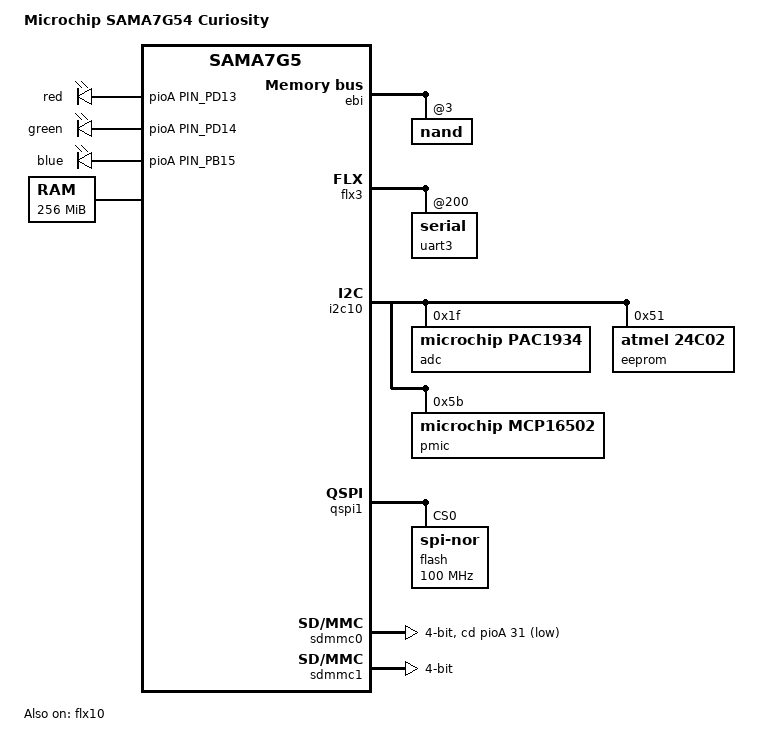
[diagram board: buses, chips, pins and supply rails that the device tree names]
// SPDX-License-Identifier: (GPL-2.0+ OR MIT)
/*
 * at91-sama7g54_curiosity.dts - Device Tree file for SAMA7G54 CURIOSITY board
 *
 * Copyright (C) 2024 Microchip Technology Inc. and its subsidiaries
 *
 * Author: Mihai Sain <mihai.sain@microchip.com>
 *
 */
/dts-v1/;
#include "sama7g5-pinfunc.h"
#include "sama7g5.dtsi"
#include <dt-bindings/input/input.h>
#include <dt-bindings/mfd/atmel-flexcom.h>
#include <dt-bindings/pinctrl/at91.h>

/ {
	model = "Microchip SAMA7G54 Curiosity";
	compatible = "microchip,sama7g54-curiosity", "microchip,sama7g5", "microchip,sama7";

	aliases {
		serial0 = &uart3;
		i2c0 = &i2c10;
	};

	chosen {
		bootargs = "console=ttyS0,115200 root=/dev/mmcblk1p2 rw rootwait";
		stdout-path = "serial0:115200n8";
	};

	clocks {
		slow_xtal {
			clock-frequency = <32768>;
		};

		main_xtal {
			clock-frequency = <24000000>;
		};
	};

	leds {
		compatible = "gpio-leds";
		pinctrl-names = "default";
		pinctrl-0 = <&pinctrl_led_gpio_default>;

		led-red {
			label = "red";
			gpios = <&pioA PIN_PD13 GPIO_ACTIVE_HIGH>;
			default-state = "off";
		};

		led-green {
			label = "green";
			gpios = <&pioA PIN_PD14 GPIO_ACTIVE_HIGH>;
			default-state = "off";
		};

		led-blue {
			label = "blue";
			gpios = <&pioA PIN_PB15 GPIO_ACTIVE_HIGH>;
			default-state = "on";
		};
	};

	memory {
		device_type = "memory";
		reg = <0x60000000 0x10000000>; // 256 MiB DDR3L-1066 16-bit
	};
};

&ebi {
	pinctrl-names = "default";
	pinctrl-0 = <&pinctrl_nand_default>;
	status = "okay";

	nand_controller: nand-controller {
		status = "okay";

		nand@3 {
			reg = <0x3 0x0 0x800000>;
			atmel,rb = <0>;
			nand-bus-width = <8>;
			nand-ecc-mode = "hw";
			nand-ecc-strength = <8>;
			nand-ecc-step-size = <512>;
			nand-on-flash-bbt;
		};
	};
};

&flx3 {
	atmel,flexcom-mode = <ATMEL_FLEXCOM_MODE_USART>;
	status = "okay";

	uart3: serial@200 {
		pinctrl-names = "default";
		pinctrl-0 = <&pinctrl_flx3_default>;
		status = "okay";
	};
};

&flx10 {
	atmel,flexcom-mode = <ATMEL_FLEXCOM_MODE_TWI>;
	status = "okay";

	i2c10: i2c@600 {
		pinctrl-names = "default";
		pinctrl-0 = <&pinctrl_flx10_default>;
		i2c-analog-filter;
		i2c-digital-filter;
		i2c-digital-filter-width-ns = <35>;
		status = "okay";

		adc@1f {
			compatible = "microchip,pac1934";
			reg = <0x1f>;
		};

		eeprom@51 {
			compatible = "atmel,24c02";
			reg = <0x51>;
			pagesize = <16>;
			size = <256>;
		};

		pmic@5b {
			compatible = "microchip,mcp16502";
			reg = <0x5b>;
		};
	};
};

&pioA {
	pinctrl_flx3_default: flx3-default {
		pinmux = <PIN_PD16__FLEXCOM3_IO0>,
			 <PIN_PD17__FLEXCOM3_IO1>;
		bias-pull-up;
	};

	pinctrl_flx10_default: flx10-default {
		pinmux = <PIN_PC30__FLEXCOM10_IO0>,
			 <PIN_PC31__FLEXCOM10_IO1>;
		bias-pull-up;
	};

	pinctrl_led_gpio_default: led-gpio-default {
		pinmux = <PIN_PD13__GPIO>,
			 <PIN_PD14__GPIO>,
			 <PIN_PB15__GPIO>;
		bias-pull-up;
	};

	pinctrl_nand_default: nand-default {
		pinmux = <PIN_PD9__D0>,
			 <PIN_PD10__D1>,
			 <PIN_PD11__D2>,
			 <PIN_PC21__D3>,
			 <PIN_PC22__D4>,
			 <PIN_PC23__D5>,
			 <PIN_PC24__D6>,
			 <PIN_PD2__D7>,
			 <PIN_PD3__NANDRDY>,
			 <PIN_PD4__NCS3_NANDCS>,
			 <PIN_PD5__NWE_NWR0_NANDWE>,
			 <PIN_PD6__NRD_NANDOE>,
			 <PIN_PD7__A21_NANDALE>,
			 <PIN_PD8__A22_NANDCLE>;
		bias-disable;
		slew-rate = <0>;
	};

	pinctrl_qspi1_default: qspi1-default {
		pinmux = <PIN_PB22__QSPI1_IO3>,
			 <PIN_PB23__QSPI1_IO2>,
			 <PIN_PB24__QSPI1_IO1>,
			 <PIN_PB25__QSPI1_IO0>,
			 <PIN_PB26__QSPI1_CS>,
			 <PIN_PB27__QSPI1_SCK>;
		bias-pull-up;
		slew-rate = <0>;
	};

	pinctrl_sdmmc0_default: sdmmc0-default {
		pinmux = <PIN_PA0__SDMMC0_CK>,
			 <PIN_PA1__SDMMC0_CMD>,
			 <PIN_PA2__SDMMC0_RSTN>,
			 <PIN_PA3__SDMMC0_DAT0>,
			 <PIN_PA4__SDMMC0_DAT1>,
			 <PIN_PA5__SDMMC0_DAT2>,
			 <PIN_PA6__SDMMC0_DAT3>;
		bias-pull-up;
		slew-rate = <0>;
	};

	pinctrl_sdmmc1_default: sdmmc1-default {
		pinmux = <PIN_PB29__SDMMC1_CMD>,
			 <PIN_PB30__SDMMC1_CK>,
			 <PIN_PB31__SDMMC1_DAT0>,
			 <PIN_PC0__SDMMC1_DAT1>,
			 <PIN_PC1__SDMMC1_DAT2>,
			 <PIN_PC2__SDMMC1_DAT3>,
			 <PIN_PC4__SDMMC1_CD>;
		bias-pull-up;
		slew-rate = <0>;
	};
};

&qspi1 {
	pinctrl-names = "default";
	pinctrl-0 = <&pinctrl_qspi1_default>;
	status = "okay";

	flash@0 {
		compatible = "jedec,spi-nor";
		reg = <0x0>;
		spi-max-frequency = <100000000>;
		spi-tx-bus-width = <4>;
		spi-rx-bus-width = <4>;
		m25p,fast-read;
	};
};

// M.2 slot for wireless card
&sdmmc0 {
	bus-width = <4>;
	cd-gpios = <&pioA 31 GPIO_ACTIVE_LOW>;
	disable-wp;
	max-frequency = <50000000>;
	pinctrl-names = "default";
	pinctrl-0 = <&pinctrl_sdmmc0_default>;
	status = "okay";
};

// micro SD socket
&sdmmc1 {
	bus-width = <4>;
	disable-wp;
	max-frequency = <50000000>;
	pinctrl-names = "default";
	pinctrl-0 = <&pinctrl_sdmmc1_default>;
	status = "okay";
};
